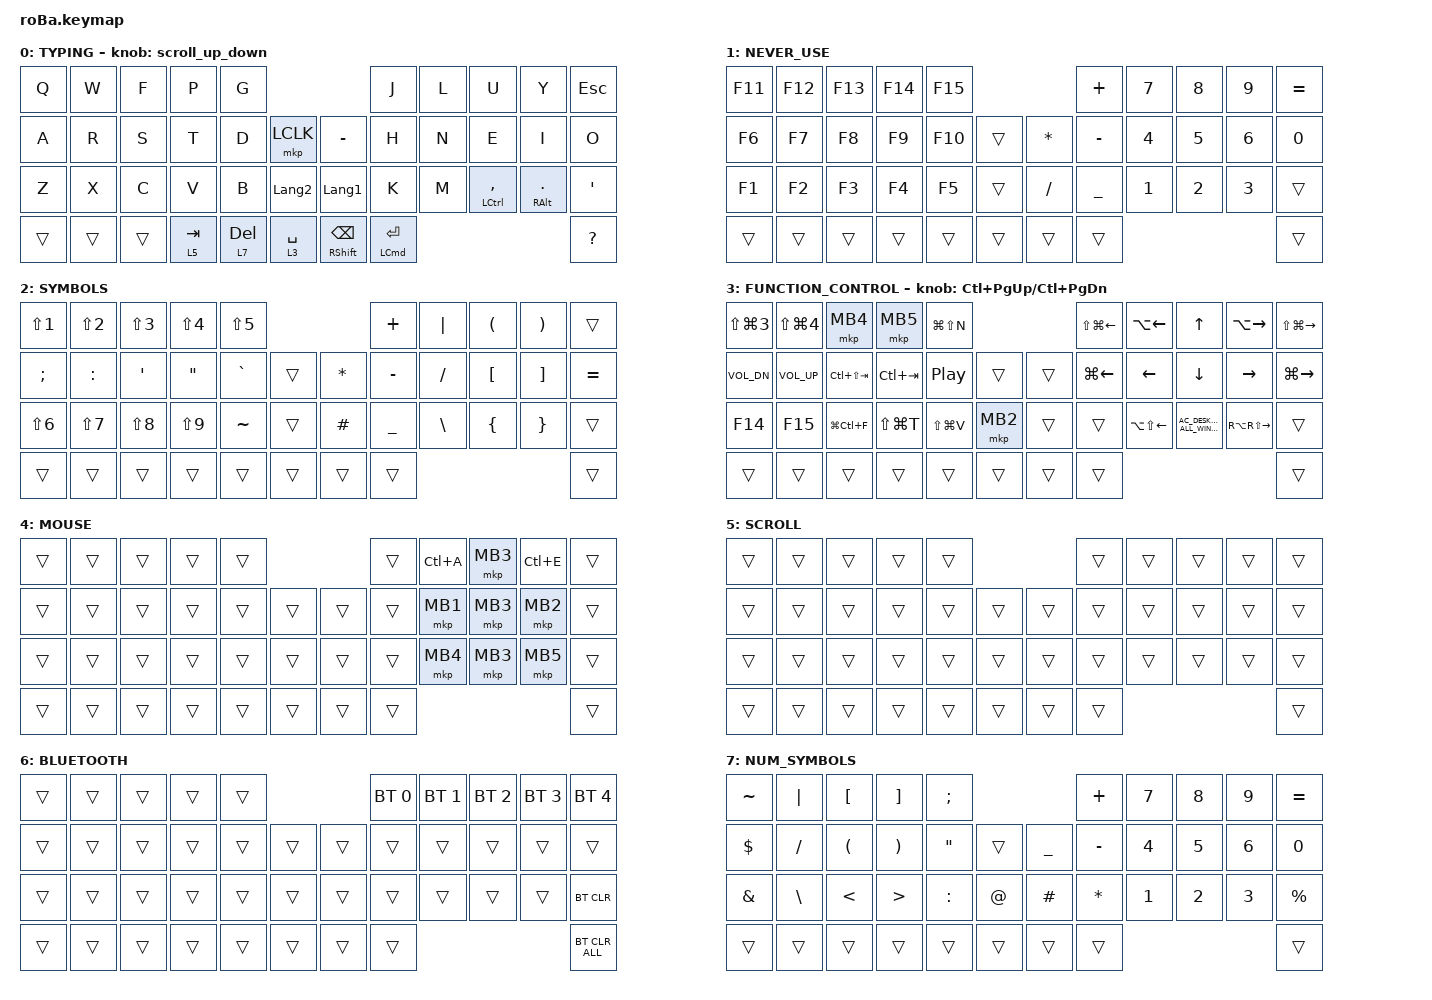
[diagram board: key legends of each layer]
#include <behaviors.dtsi>
#include <dt-bindings/zmk/bt.h>
#include <dt-bindings/zmk/keys.h>
#include <dt-bindings/zmk/pointing.h>

&mt {
    flavor = "balanced";
    quick-tap-ms = <0>;
};

&trackball {
    automouse-layer = <4>;
    scroll-layers = <5>;

    // arrows {
    //     layers = <3>;
    //     bindings =
    //         <&kp LEFT_ARROW>,
    //         <&kp RIGHT_ARROW>,
    //         <&kp DOWN_ARROW>,
    //         <&kp UP_ARROW>;
    //     tick = <10>;
    //     wait-ms = <5>;
    //     tap-ms = <5>;
    // };
};

/ {
    combos {
        compatible = "zmk,combos";

        BT0 {
            bindings = <&bt BT_CLR_ALL>;
            key-positions = <27 28>;
        };

        BT1 {
            bindings = <&bt BT_SEL 0>;
            key-positions = <27 16>;
        };

        Exclamation {
            bindings = <&kp EXCLAMATION>;
            key-positions = <18 13>;
        };

        All_Delete {
            bindings = <&kp LG(BACKSPACE)>;
            key-positions = <40 18>;
        };

        Sft+Enter {
            bindings = <&kp LS(ENTER)>;
            key-positions = <41 18>;
        };

        Cmd_Enter {
            bindings = <&kp LG(ENTER)>;
            key-positions = <41 13>;
        };

        rclk {
            bindings = <&mkp MB2>;
            key-positions = <15 39>;
        };
    };

    macros {
        to_layer_0: to_layer_0 {
            compatible = "zmk,behavior-macro-one-param";
            #binding-cells = <1>;
            bindings = <&to 0 &macro_param_1to1 &kp MACRO_PLACEHOLDER>;
            label = "TO_LAYER_0";
        };

        mkp_exit_AML: mkp_exit_AML {
            compatible = "zmk,behavior-macro-one-param";
            #binding-cells = <1>;
            bindings =
                <&macro_press>,
                <&macro_param_1to1 &mkp MACRO_PLACEHOLDER>,
                <&macro_pause_for_release>,
                <&macro_release>,
                <&macro_param_1to1 &mkp MACRO_PLACEHOLDER>,
                <&macro_tap>,
                <&sl 4>;

            label = "MKP_EXIT_AML";
        };
    };

    // #includeのあとのあたりにスクロール量を変更

    #define ZMK_POINTING_DEFAULT_SCRL_VAL 100

    //  behaviors に追加
    // 新しいスクロール動作の追加

    scroll_up_down: behavior_sensor_rotate_mouse_wheel_up_down {
        compatible = "zmk,behavior-sensor-rotate";
        #sensor-binding-cells = <0>;
        bindings = <&msc SCRL_UP>, <&msc SCRL_DOWN>;

        // 追加: スクロールのタップ時間を設定 (20ms)

        tap-ms = <20>;
    };

    // 設定したいレイヤー

    sensor-bindings = <&scroll_up_down>;

    behaviors {
        scroll_rev_x: behavior_pointing_scroll_rev_x {
            compatible = "zmk,behavior-pointing-scroll";
            #binding-cells = <0>;
            direction = "x-axis";
            invert; // <--- これがX軸（左右）を反転させるプロパティです
        };
    };

    keymap {
        compatible = "zmk,keymap";

        TYPING {
            bindings = <
&kp Q   &kp W   &kp F   &kp P      &kp G                                                  &kp J                   &kp L  &kp U                   &kp Y              &kp ESCAPE
&kp A   &kp R   &kp S   &kp T      &kp D         &mkp LCLK           &kp MINUS            &kp H                   &kp N  &kp E                   &kp I              &kp O
&kp Z   &kp X   &kp C   &kp V      &kp B         &kp LANGUAGE_2      &kp LANGUAGE_1       &kp K                   &kp M  &mt LEFT_CONTROL COMMA  &mt RIGHT_ALT DOT  &kp SQT
&trans  &trans  &trans  &lt 5 TAB  &lt 7 DELETE  &lt 3 SPACE         &mt RSHFT BACKSPACE  &mt LEFT_COMMAND ENTER                                                    &kp QUESTION
            >;

            sensor-bindings = <&scroll_up_down>;
        };

        NEVER_USE {
            bindings = <
&kp F11  &kp F12  &kp F13  &kp F14  &kp F15                            &kp PLUS        &kp NUMBER_7  &kp NUMBER_8  &kp NUMBER_9  &kp EQUAL
&kp F6   &kp F7   &kp F8   &kp F9   &kp F10  &trans      &kp ASTERISK  &kp MINUS       &kp NUMBER_4  &kp NUMBER_5  &kp NUMBER_6  &kp NUMBER_0
&kp F1   &kp F2   &kp F3   &kp F4   &kp F5   &trans      &kp SLASH     &kp UNDERSCORE  &kp NUMBER_1  &kp NUMBER_2  &kp NUMBER_3  &trans
&trans   &trans   &trans   &trans   &trans   &trans      &trans        &trans                                                    &trans
            >;
        };

        SYMBOLS {
            bindings = <
&kp LS(NUMBER_1)  &kp LS(NUMBER_2)  &kp LS(NUMBER_3)  &kp LS(NUMBER_4)   &kp LS(N5)                            &kp PLUS        &kp PIPE       &kp LEFT_PARENTHESIS  &kp RIGHT_PARENTHESIS  &trans
&kp SEMICOLON     &kp COLON         &kp SQT           &kp DOUBLE_QUOTES  &kp GRAVE   &trans      &kp ASTERISK  &kp MINUS       &kp SLASH      &kp LEFT_BRACKET      &kp RIGHT_BRACKET      &kp EQUAL
&kp LS(NUMBER_6)  &kp LS(N7)        &kp LS(N8)        &kp LS(N9)         &kp TILDE   &trans      &kp HASH      &kp UNDERSCORE  &kp BACKSLASH  &kp LEFT_BRACE        &kp RIGHT_BRACE        &trans
&trans            &trans            &trans            &trans             &trans      &trans      &trans        &trans                                                                      &trans
            >;
        };

        FUNCTION_CONTROL {
            bindings = <
&kp LS(LG(NUMBER_3))  &kp LS(LG(NUMBER_4))  &mkp MB4         &mkp MB5       &kp LG(LS(N))                           &kp LS(LG(LEFT))    &kp LA(LEFT_ARROW)  &kp UP_ARROW                       &kp LA(RIGHT)      &kp LS(LG(RIGHT))
&kp C_VOL_DN          &kp C_VOL_UP          &kp LC(LS(TAB))  &kp LC(TAB)    &kp C_PLAY_PAUSE  &trans        &trans  &kp LG(LEFT_ARROW)  &kp LEFT_ARROW      &kp DOWN_ARROW                     &kp RIGHT_ARROW    &kp LG(RIGHT)
&kp F14               &kp F15               &kp LG(LC(F))    &kp LS(LG(T))  &kp LS(LG(V))     &mkp MB2      &trans  &trans              &kp LA(LS(LEFT))    &kp C_AC_DESKTOP_SHOW_ALL_WINDOWS  &kp RA(RS(RIGHT))  &trans
&trans                &trans                &trans           &trans         &trans            &trans        &trans  &trans                                                                                        &trans
            >;

            sensor-bindings = <&inc_dec_kp LC(PAGE_UP) LC(PAGE_DOWN)>;
        };

        MOUSE {
            bindings = <
&trans  &trans  &trans  &trans  &trans                      &trans  &kp LC(A)  &mkp MB3  &kp LC(E)  &trans
&trans  &trans  &trans  &trans  &trans  &trans      &trans  &trans  &mkp MB1   &mkp MB3  &mkp MB2   &trans
&trans  &trans  &trans  &trans  &trans  &trans      &trans  &trans  &mkp MB4   &mkp MB3  &mkp MB5   &trans
&trans  &trans  &trans  &trans  &trans  &trans      &trans  &trans                                  &trans
            >;
        };

        SCROLL {
            bindings = <
&trans  &trans  &trans  &trans  &trans                      &trans  &trans  &trans  &trans  &trans
&trans  &trans  &trans  &trans  &trans  &trans      &trans  &trans  &trans  &trans  &trans  &trans
&trans  &trans  &trans  &trans  &trans  &trans      &trans  &trans  &trans  &trans  &trans  &trans
&trans  &trans  &trans  &trans  &trans  &trans      &trans  &trans                          &trans
            >;
        };

        BLUETOOTH {
            bindings = <
&trans  &trans  &trans  &trans  &trans                      &bt BT_SEL 0  &bt BT_SEL 1  &bt BT_SEL 2  &bt BT_SEL 3  &bt BT_SEL 4
&trans  &trans  &trans  &trans  &trans  &trans      &trans  &trans        &trans        &trans        &trans        &trans
&trans  &trans  &trans  &trans  &trans  &trans      &trans  &trans        &trans        &trans        &trans        &bt BT_CLR
&trans  &trans  &trans  &trans  &trans  &trans      &trans  &trans                                                  &bt BT_CLR_ALL
            >;
        };

        NUM_SYMBOLS {
            bindings = <
&kp TILDE      &kp PIPE       &kp LBKT       &kp RBKT          &kp SEMICOLON                                       &kp PLUS      &kp NUMBER_7  &kp NUMBER_8  &kp NUMBER_9  &kp EQUAL
&kp DOLLAR     &kp SLASH      &kp LPAR       &kp RPAR          &kp DOUBLE_QUOTES  &trans           &kp UNDERSCORE  &kp MINUS     &kp NUMBER_4  &kp NUMBER_5  &kp NUMBER_6  &kp NUMBER_0
&kp AMPERSAND  &kp BACKSLASH  &kp LESS_THAN  &kp GREATER_THAN  &kp COLON          &kp AT_SIGN      &kp HASH        &kp ASTERISK  &kp NUMBER_1  &kp NUMBER_2  &kp NUMBER_3  &kp PERCENT
&trans         &trans         &trans         &trans            &trans             &trans           &trans          &trans                                                  &trans
            >;
        };
    };
};
